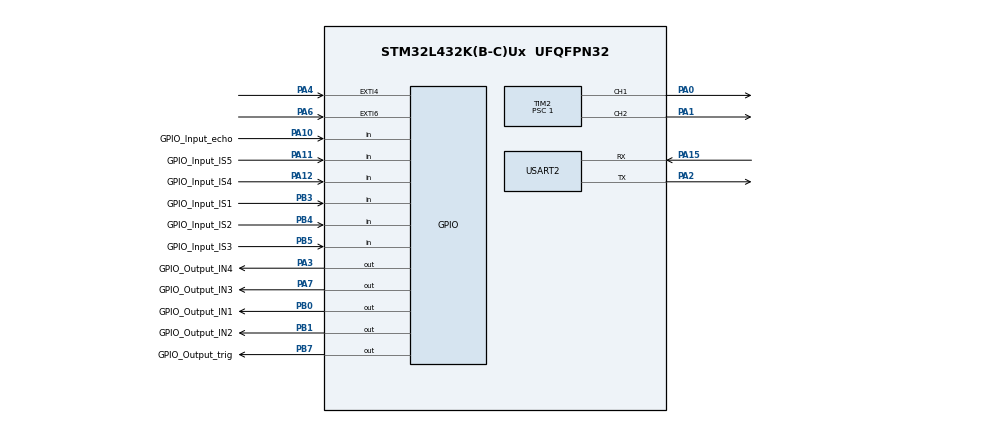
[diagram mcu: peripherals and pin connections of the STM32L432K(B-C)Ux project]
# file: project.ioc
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Dma.Request0=USART2_RX
Dma.USART2_RX.0.Direction=DMA_PERIPH_TO_MEMORY
Dma.USART2_RX.0.Instance=DMA1_Channel6
Dma.USART2_RX.0.MemDataAlignment=DMA_MDATAALIGN_BYTE
Dma.USART2_RX.0.MemInc=DMA_MINC_ENABLE
Dma.USART2_RX.0.Mode=DMA_NORMAL
Dma.USART2_RX.0.PeriphDataAlignment=DMA_PDATAALIGN_BYTE
Dma.USART2_RX.0.PeriphInc=DMA_PINC_DISABLE
Dma.USART2_RX.0.Priority=DMA_PRIORITY_LOW
Mcu.Family=STM32L4
Mcu.Name=STM32L432K(B-C)Ux
Mcu.Package=UFQFPN32
NVIC.DMA1_Channel6_IRQn=true\:0\:0\:false\:false\:true\:false\:true\:true
NVIC.EXTI4_IRQn=true\:0\:0\:true\:false\:true\:true\:true\:true
NVIC.EXTI9_5_IRQn=true\:0\:0\:true\:false\:true\:true\:true\:true
NVIC.PriorityGroup=NVIC_PRIORITYGROUP_4
NVIC.TIM6_DAC_IRQn=true\:0\:0\:true\:false\:true\:true\:true\:true
NVIC.USART2_IRQn=true\:0\:0\:true\:false\:true\:true\:true\:true
PA0.Signal=S_TIM2_CH1
PA1.Signal=S_TIM2_CH2
PA10.GPIO_Label=GPIO_Input_echo
PA10.Signal=GPIO_Input
PA11.GPIO_Label=GPIO_Input_IS5
PA11.Signal=GPIO_Input
PA12.GPIO_Label=GPIO_Input_IS4
PA12.Signal=GPIO_Input
PA13\ (JTMS-SWDIO).Mode=Serial_Wire
PA13\ (JTMS-SWDIO).Signal=SYS_JTMS-SWDIO
PA14\ (JTCK-SWCLK).Mode=Serial_Wire
PA14\ (JTCK-SWCLK).Signal=SYS_JTCK-SWCLK
PA15\ (JTDI).Mode=Asynchronous
PA15\ (JTDI).Signal=USART2_RX
PA2.Mode=Asynchronous
PA2.Signal=USART2_TX
PA3.GPIO_Label=GPIO_Output_IN4
PA3.Signal=GPIO_Output
PA4.Signal=GPXTI4
PA6.Signal=GPXTI6
PA7.GPIO_Label=GPIO_Output_IN3
PA7.Signal=GPIO_Output
PB0.GPIO_Label=GPIO_Output_IN1
PB0.Signal=GPIO_Output
PB1.GPIO_Label=GPIO_Output_IN2
PB1.Signal=GPIO_Output
PB3\ (JTDO-TRACESWO).GPIO_Label=GPIO_Input_IS1
PB3\ (JTDO-TRACESWO).Signal=GPIO_Input
PB4\ (NJTRST).GPIO_Label=GPIO_Input_IS2
PB4\ (NJTRST).Signal=GPIO_Input
PB5.GPIO_Label=GPIO_Input_IS3
PB5.Signal=GPIO_Input
PB7.GPIO_Label=GPIO_Output_trig
PB7.Signal=GPIO_Output
PC14-OSC32_IN\ (PC14).Mode=LSE-External-Oscillator
PC14-OSC32_IN\ (PC14).Signal=RCC_OSC32_IN
PC15-OSC32_OUT\ (PC15).Mode=LSE-External-Oscillator
PC15-OSC32_OUT\ (PC15).Signal=RCC_OSC32_OUT
ProjectManager.HeapSize=0x200
ProjectManager.StackSize=0x400
ProjectManager.TargetToolchain=STM32CubeIDE
RCC.HSE_VALUE=8000000
RCC.HSI48_VALUE=48000000
RCC.HSI_VALUE=16000000
RCC.MSI_VALUE=4000000
RCC.VCOOutputFreq_Value=32000000
SH.S_TIM2_CH1.0=TIM2_CH1,PWM Generation1 CH1
SH.S_TIM2_CH2.0=TIM2_CH2,PWM Generation2 CH2
TIM2.Channel-PWM\ Generation1\ CH1=TIM_CHANNEL_1
TIM2.Channel-PWM\ Generation2\ CH2=TIM_CHANNEL_2
TIM2.Period=100
TIM2.Prescaler=1
TIM6.Period=999
TIM6.Prescaler=3
TIM7.Prescaler=3
USART2.VirtualMode-Asynchronous=VM_ASYNC
VP_TIM6_VS_ClockSourceINT.Mode=Enable_Timer
VP_TIM7_VS_ClockSourceINT.Mode=Enable_Timer
board=custom

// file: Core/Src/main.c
/* USER CODE BEGIN Header */
/**
  ******************************************************************************
  * @file           : main.c
  * @brief          : Main program body
  ******************************************************************************
  * @attention
  *
  * Copyright (c) 2024 STMicroelectronics.
  * All rights reserved.
  *
  * This software is licensed under terms that can be found in the LICENSE file
  * in the root directory of this software component.
  * If no LICENSE file comes with this software, it is provided AS-IS.
  *
  ******************************************************************************
  */
/* USER CODE END Header */
#include "main.h"

TIM_HandleTypeDef htim2;
TIM_HandleTypeDef htim6;
TIM_HandleTypeDef htim7;

UART_HandleTypeDef huart2;
DMA_HandleTypeDef hdma_usart2_rx;

void SystemClock_Config(void);
static void MX_GPIO_Init(void);
static void MX_DMA_Init(void);
static void MX_TIM6_Init(void);
static void MX_TIM2_Init(void);
static void MX_USART2_UART_Init(void);
static void MX_TIM7_Init(void);

/* USER CODE BEGIN 0 */
#include <string.h>
#include <stdbool.h>
#include <math.h>

int cntMilSecond; // control runing time

// To read ultrasonic sensor
#define TRIG_PIN GPIO_Output_trig_Pin
#define TRIG_PORT GPIOB
#define ECHO_PIN GPIO_Input_echo_Pin
#define ECHO_PORT GPIOA
uint32_t uMillis;
uint32_t val1 = 0;
uint32_t val2 = 0;
uint16_t disObs = 0;
uint16_t safeDis = 10;

// Transmit - Receive data with Jeson Nano
#define SIZE_TX_BUFFER 12
uint8_t uartTxBuffer[SIZE_TX_BUFFER];
uint8_t convertedSpeed1[2];
uint8_t convertedSpeed2[2];
uint8_t convertedDisObs[2];
#define SIZE_RX_BUFFER 8
uint8_t uartRxBuffer[SIZE_RX_BUFFER];

// To control motor velocity
int16_t sig1, sig2; // signal control two motors
int setSpeed1, setSpeed2;
char runMotor1, runMotor2, directMotor1[3], directMotor2[3];

// To design PI controller
float Kp, Ki, Kb;
const float Ts = 0.01;
const int16_t maxPWM = 100;
const int16_t minPWM = 0;

// To read encoder
int cntPulse1, cntPulse2;
float rpm1, rpm2, encodeSpeed1, encodeSpeed2; // round per minute and radian per second

bool compareString(const char* str1, const char* str2) {
    while (*str1 != '\0' || *str2 != '\0') {
        if (*str1 != *str2) {
            return false;
        }
        str1++;
        str2++;
    }
    return true;
}

void numberToChar(float num, uint8_t result[2]) // num to two chars
{
    int firstChar = (int)num / 10;
    int secondChar = (int)num % 10;
    result[0] = firstChar + '0';
    result[1] = secondChar + '0';
}

int16_t PI_Controller(const char* motor, const char* direction, float targetSpeed, float encoderSpeed)
{
	if (compareString(motor, "motor1"))
	{
	    if (compareString(direction, "cw"))
	    {
	        Kp = 5.364516129;
	        Ki = 32.25806452;
	        Kb = 6.013229104;
	    }
	    else if (compareString(direction, "ccw"))
	    {
	        Kp = 4.75;
	        Ki = 31.25;
	        Kb = 6.578947368;
	    }
	}
	else if (compareString(motor, "motor2"))
	{
	    if (compareString(direction, "ccw"))
	    {
	        Kp = 4.240625;
	        Ki = 31.25;
	        Kb = 7.369196758;
	    }
	    else if (compareString(direction, "cw"))
	    {
	        Kp = 4.153333333;
	        Ki = 33.33333333;
	        Kb = 8.025682183;
	    }
	}

	int16_t u_out;
	float error, u_p, u_i, u_design;
	static float errorSignal, u_i_pre;

	error = targetSpeed - encoderSpeed;

	// For P
	u_p = Kp*error;

	// For I
	u_i = u_i_pre + Ki*Ts*error + Kb*Ts*errorSignal;
	u_i_pre = u_i;

	// PI Controller
	u_design = u_p + u_i;

	// Check error of signal
	if (u_design > maxPWM) {
		u_out = maxPWM;
		errorSignal = u_out - u_design;
	}
	else if (u_design < minPWM)
	{
		u_out = minPWM;
		errorSignal = u_out - u_design;
	}
	else
	{
		u_out = (int16_t)u_design;
		errorSignal = 0;
	}

	return u_out;
}

void readInfraredSensor()
{
    uartTxBuffer[0] = (HAL_GPIO_ReadPin(GPIOB, GPIO_Input_IS1_Pin) == GPIO_PIN_SET) ? '1' : '0';
    uartTxBuffer[1] = (HAL_GPIO_ReadPin(GPIOB, GPIO_Input_IS2_Pin) == GPIO_PIN_SET) ? '1' : '0';
    uartTxBuffer[2] = (HAL_GPIO_ReadPin(GPIOB, GPIO_Input_IS3_Pin) == GPIO_PIN_SET) ? '1' : '0';
    uartTxBuffer[3] = (HAL_GPIO_ReadPin(GPIOA, GPIO_Input_IS4_Pin) == GPIO_PIN_SET) ? '1' : '0';
    uartTxBuffer[4] = (HAL_GPIO_ReadPin(GPIOA, GPIO_Input_IS5_Pin) == GPIO_PIN_SET) ? '1' : '0';
}

void readUltrasonicSensor()
{
	HAL_GPIO_WritePin(TRIG_PORT, TRIG_PIN, GPIO_PIN_SET);
	__HAL_TIM_SET_COUNTER(&htim7, 0);
	while (__HAL_TIM_GET_COUNTER (&htim7) < 10);  // wait for 10 us
	HAL_GPIO_WritePin(TRIG_PORT, TRIG_PIN, GPIO_PIN_RESET);

	uMillis = HAL_GetTick(); // calib sensor
	while (!(HAL_GPIO_ReadPin (ECHO_PORT, ECHO_PIN)) && uMillis + 10 >  HAL_GetTick());
	val1 = __HAL_TIM_GET_COUNTER (&htim7);

	uMillis = HAL_GetTick(); // calib sensor
	while ((HAL_GPIO_ReadPin (ECHO_PORT, ECHO_PIN)) && uMillis + 50 > HAL_GetTick());
	val2 = __HAL_TIM_GET_COUNTER (&htim7);

	disObs = (val2-val1)* 0.034/2; //cm
}

void transmitData()
{
	char sendData[SIZE_TX_BUFFER];
	memcpy(sendData, uartTxBuffer, SIZE_TX_BUFFER);
	sendData[SIZE_TX_BUFFER - 1] = '.';
	HAL_UART_Transmit(&huart2, (uint8_t*)sendData, SIZE_TX_BUFFER, HAL_MAX_DELAY);
}

void processDataReceived()
{
	runMotor1 = uartRxBuffer[0];
	strcpy(directMotor1, (uartRxBuffer[1] == '0')  ? "cw" : "ccw");
	setSpeed1 = (uartRxBuffer[2] - '0')*10 + (uartRxBuffer[3] - '0');
	runMotor2 = uartRxBuffer[4];
	strcpy(directMotor2, (uartRxBuffer[5] == '0') ? "cw" : "ccw");
	setSpeed2 = (uartRxBuffer[6] - '0')*10 + (uartRxBuffer[7] - '0');
}

void HAL_UART_RxCpltCallback(UART_HandleTypeDef *huart)
{
	if(huart->Instance == huart2.Instance)
	{
		HAL_UART_Receive_DMA(&huart2, uartRxBuffer, SIZE_RX_BUFFER);
		processDataReceived();

		if (runMotor1 == '0')
		{
			HAL_GPIO_WritePin(GPIOB, GPIO_Output_IN1_Pin, 0);
			HAL_GPIO_WritePin(GPIOB, GPIO_Output_IN2_Pin, 0);
		}

		if (runMotor2 == '0')
		{
			HAL_GPIO_WritePin(GPIOA, GPIO_Output_IN3_Pin, 0);
			HAL_GPIO_WritePin(GPIOA, GPIO_Output_IN4_Pin, 0);
		}
	}
}

void HAL_GPIO_EXTI_Callback(uint16_t GPIO_Pin)
{
    if (GPIO_Pin == GPIO_PIN_6)
    {
    	cntPulse1++;
    }

    if (GPIO_Pin == GPIO_PIN_4)
    {
    	cntPulse2++;
    }
}

int16_t controlVelocityM1(const char* direction, float targetSpeed, float encoderSpeed)
{
	int16_t controlPulse = PI_Controller("motor1", direction, targetSpeed, encoderSpeed);

	if (compareString(direction, "cw"))
	{
		HAL_GPIO_WritePin(GPIOB, GPIO_Output_IN1_Pin, 1);
		HAL_GPIO_WritePin(GPIOB, GPIO_Output_IN2_Pin, 0);
	}

	else if (compareString(direction, "ccw"))
	{
		HAL_GPIO_WritePin(GPIOB, GPIO_Output_IN1_Pin, 0);
		HAL_GPIO_WritePin(GPIOB, GPIO_Output_IN2_Pin, 1);
	}

	__HAL_TIM_SetCompare(&htim2, TIM_CHANNEL_1, controlPulse);

	return controlPulse;
}

int16_t controlVelocityM2(const char* direction, float targetSpeed, float encoderSpeed)
{
	int16_t controlPulse = PI_Controller("motor2", direction, targetSpeed, encoderSpeed);

	if (compareString(direction, "cw"))
	{
		HAL_GPIO_WritePin(GPIOA, GPIO_Output_IN3_Pin, 1);
		HAL_GPIO_WritePin(GPIOA, GPIO_Output_IN4_Pin, 0);
	}

	else if (compareString(direction, "ccw"))
	{
		HAL_GPIO_WritePin(GPIOA, GPIO_Output_IN3_Pin, 0);
		HAL_GPIO_WritePin(GPIOA, GPIO_Output_IN4_Pin, 1);
	}

	__HAL_TIM_SetCompare(&htim2, TIM_CHANNEL_2, controlPulse);

	return controlPulse;
}

void HAL_TIM_PeriodElapsedCallback(TIM_HandleTypeDef *htim)
{
	if (htim -> Instance == htim6.Instance) // 1 millisecond
	{
		cntMilSecond++;

		if (cntMilSecond == 50) // 50 milliseconds
		{
			readInfraredSensor();

			numberToChar(disObs > 99 ? 99 : disObs, convertedDisObs);
			uartTxBuffer[5] = convertedDisObs[0];
			uartTxBuffer[6] = convertedDisObs[1];

			// Record motor speed to transmit
			numberToChar(encodeSpeed1, convertedSpeed1);
			uartTxBuffer[7] = convertedSpeed1[0];
			uartTxBuffer[8] = convertedSpeed1[1];

			numberToChar(encodeSpeed2, convertedSpeed2);
			uartTxBuffer[9] = convertedSpeed2[0];
			uartTxBuffer[10] = convertedSpeed2[1];

			transmitData();

			cntMilSecond = 0;
		}

		if (cntMilSecond % 10 == 0) // 10 milliseconds
		{
			rpm1 = ((float)cntPulse1/330)*100*60;
			encodeSpeed1 = rpm1 / 60 * (2*M_PI);
			cntPulse1 = 0;

			if (runMotor1 == '1')
			{
				sig1 = controlVelocityM1(directMotor1, setSpeed1, encodeSpeed1);
			}
			else if (runMotor1 == '0')
			{
				HAL_GPIO_WritePin(GPIOB, GPIO_Output_IN1_Pin, 0);
				HAL_GPIO_WritePin(GPIOB, GPIO_Output_IN2_Pin, 0);
			}

			rpm2 = ((float)cntPulse2/330)*100*60;
			encodeSpeed2 = rpm2 / 60 * (2*M_PI);
			cntPulse2 = 0;

			if (runMotor2 == '1')
			{
				sig2 = controlVelocityM2(directMotor2, setSpeed2, encodeSpeed2);
			}
			else if (runMotor2 == '0')
			{
				HAL_GPIO_WritePin(GPIOA, GPIO_Output_IN3_Pin, 0);
				HAL_GPIO_WritePin(GPIOA, GPIO_Output_IN4_Pin, 0);
			}
		}
	}
}

void runM1(bool run, const char* direction, int16_t speedPercent) /* No PI controller */
{
    if (run)
    {
    	if (compareString(direction, "cw"))
        {
            HAL_GPIO_WritePin(GPIOB, GPIO_Output_IN1_Pin, 1);
            HAL_GPIO_WritePin(GPIOB, GPIO_Output_IN2_Pin, 0);
        }

    	else if (compareString(direction, "ccw"))
        {
            HAL_GPIO_WritePin(GPIOB, GPIO_Output_IN1_Pin, 0);
            HAL_GPIO_WritePin(GPIOB, GPIO_Output_IN2_Pin, 1);
        }

        __HAL_TIM_SetCompare(&htim2, TIM_CHANNEL_1, speedPercent);
    }

    else
    {
        HAL_GPIO_WritePin(GPIOB, GPIO_Output_IN1_Pin, 0);
        HAL_GPIO_WritePin(GPIOB, GPIO_Output_IN2_Pin, 0);
    }
}

void runM2(bool run, const char* direction, int16_t speedPercent) /* No PI controller */
{
    if (run)
    {
    	if (compareString(direction, "cw"))
        {
            HAL_GPIO_WritePin(GPIOA, GPIO_Output_IN3_Pin, 1);
            HAL_GPIO_WritePin(GPIOA, GPIO_Output_IN4_Pin, 0);
        }

    	else if (compareString(direction, "ccw"))
        {
            HAL_GPIO_WritePin(GPIOA, GPIO_Output_IN3_Pin, 0);
            HAL_GPIO_WritePin(GPIOA, GPIO_Output_IN4_Pin, 1);
        }

        __HAL_TIM_SetCompare(&htim2, TIM_CHANNEL_2, speedPercent);
    }

    else
    {
        HAL_GPIO_WritePin(GPIOA, GPIO_Output_IN3_Pin, 0);
        HAL_GPIO_WritePin(GPIOA, GPIO_Output_IN4_Pin, 0);
    }
}

/* USER CODE END 0 */

int main(void)
{

  /* MCU Configuration--------------------------------------------------------*/

  /* Reset of all peripherals, Initializes the Flash interface and the Systick. */
  HAL_Init();

  /* Configure the system clock */
  SystemClock_Config();

  /* Initialize all configured peripherals */
  MX_GPIO_Init();
  MX_DMA_Init();
  MX_TIM6_Init();
  MX_TIM2_Init();
  MX_USART2_UART_Init();
  MX_TIM7_Init();
  /* USER CODE BEGIN 2 */
  HAL_TIM_Base_Start_IT(&htim6);
  HAL_TIM_PWM_Start(&htim2,TIM_CHANNEL_1);
  HAL_TIM_PWM_Start(&htim2,TIM_CHANNEL_2);
  HAL_UART_Receive_DMA(&huart2, uartRxBuffer, SIZE_RX_BUFFER);
  HAL_TIM_Base_Start_IT(&htim7);

  /* USER CODE END 2 */

  /* Infinite loop */
  while (1)
  {

    /* USER CODE BEGIN 3 */
	readUltrasonicSensor();
  }
  /* USER CODE END 3 */
}

void SystemClock_Config(void)
{
  RCC_OscInitTypeDef RCC_OscInitStruct = {0};
  RCC_ClkInitTypeDef RCC_ClkInitStruct = {0};

  /** Configure the main internal regulator output voltage
  */
  if (HAL_PWREx_ControlVoltageScaling(PWR_REGULATOR_VOLTAGE_SCALE1) != HAL_OK)
  {
    Error_Handler();
  }

  /** Configure LSE Drive Capability
  */
  HAL_PWR_EnableBkUpAccess();
  __HAL_RCC_LSEDRIVE_CONFIG(RCC_LSEDRIVE_LOW);

  /** Initializes the RCC Oscillators according to the specified parameters
  * in the RCC_OscInitTypeDef structure.
  */
  RCC_OscInitStruct.OscillatorType = RCC_OSCILLATORTYPE_LSE|RCC_OSCILLATORTYPE_MSI;
  RCC_OscInitStruct.LSEState = RCC_LSE_ON;
  RCC_OscInitStruct.MSIState = RCC_MSI_ON;
  RCC_OscInitStruct.MSICalibrationValue = 0;
  RCC_OscInitStruct.MSIClockRange = RCC_MSIRANGE_6;
  RCC_OscInitStruct.PLL.PLLState = RCC_PLL_NONE;
  if (HAL_RCC_OscConfig(&RCC_OscInitStruct) != HAL_OK)
  {
    Error_Handler();
  }

  /** Initializes the CPU, AHB and APB buses clocks
  */
  RCC_ClkInitStruct.ClockType = RCC_CLOCKTYPE_HCLK|RCC_CLOCKTYPE_SYSCLK
                              |RCC_CLOCKTYPE_PCLK1|RCC_CLOCKTYPE_PCLK2;
  RCC_ClkInitStruct.SYSCLKSource = RCC_SYSCLKSOURCE_MSI;
  RCC_ClkInitStruct.AHBCLKDivider = RCC_SYSCLK_DIV1;
  RCC_ClkInitStruct.APB1CLKDivider = RCC_HCLK_DIV1;
  RCC_ClkInitStruct.APB2CLKDivider = RCC_HCLK_DIV1;

  if (HAL_RCC_ClockConfig(&RCC_ClkInitStruct, FLASH_LATENCY_0) != HAL_OK)
  {
    Error_Handler();
  }

  /** Enable MSI Auto calibration
  */
  HAL_RCCEx_EnableMSIPLLMode();
}

static void MX_TIM2_Init(void)
{

  TIM_MasterConfigTypeDef sMasterConfig = {0};
  TIM_OC_InitTypeDef sConfigOC = {0};

  htim2.Instance = TIM2;
  htim2.Init.Prescaler = 1;
  htim2.Init.CounterMode = TIM_COUNTERMODE_UP;
  htim2.Init.Period = 100;
  htim2.Init.ClockDivision = TIM_CLOCKDIVISION_DIV1;
  htim2.Init.AutoReloadPreload = TIM_AUTORELOAD_PRELOAD_DISABLE;
  if (HAL_TIM_PWM_Init(&htim2) != HAL_OK)
  {
    Error_Handler();
  }
  sMasterConfig.MasterOutputTrigger = TIM_TRGO_RESET;
  sMasterConfig.MasterSlaveMode = TIM_MASTERSLAVEMODE_DISABLE;
  if (HAL_TIMEx_MasterConfigSynchronization(&htim2, &sMasterConfig) != HAL_OK)
  {
    Error_Handler();
  }
  sConfigOC.OCMode = TIM_OCMODE_PWM1;
  sConfigOC.Pulse = 0;
  sConfigOC.OCPolarity = TIM_OCPOLARITY_HIGH;
  sConfigOC.OCFastMode = TIM_OCFAST_DISABLE;
  if (HAL_TIM_PWM_ConfigChannel(&htim2, &sConfigOC, TIM_CHANNEL_1) != HAL_OK)
  {
    Error_Handler();
  }
  if (HAL_TIM_PWM_ConfigChannel(&htim2, &sConfigOC, TIM_CHANNEL_2) != HAL_OK)
  {
    Error_Handler();
  }
  HAL_TIM_MspPostInit(&htim2);

}

static void MX_TIM6_Init(void)
{

  TIM_MasterConfigTypeDef sMasterConfig = {0};

  htim6.Instance = TIM6;
  htim6.Init.Prescaler = 3;
  htim6.Init.CounterMode = TIM_COUNTERMODE_UP;
  htim6.Init.Period = 999;
  htim6.Init.AutoReloadPreload = TIM_AUTORELOAD_PRELOAD_DISABLE;
  if (HAL_TIM_Base_Init(&htim6) != HAL_OK)
  {
    Error_Handler();
  }
  sMasterConfig.MasterOutputTrigger = TIM_TRGO_RESET;
  sMasterConfig.MasterSlaveMode = TIM_MASTERSLAVEMODE_DISABLE;
  if (HAL_TIMEx_MasterConfigSynchronization(&htim6, &sMasterConfig) != HAL_OK)
  {
    Error_Handler();
  }

}

static void MX_TIM7_Init(void)
{

  TIM_MasterConfigTypeDef sMasterConfig = {0};

  htim7.Instance = TIM7;
  htim7.Init.Prescaler = 3;
  htim7.Init.CounterMode = TIM_COUNTERMODE_UP;
  htim7.Init.Period = 65535;
  htim7.Init.AutoReloadPreload = TIM_AUTORELOAD_PRELOAD_DISABLE;
  if (HAL_TIM_Base_Init(&htim7) != HAL_OK)
  {
    Error_Handler();
  }
  sMasterConfig.MasterOutputTrigger = TIM_TRGO_RESET;
  sMasterConfig.MasterSlaveMode = TIM_MASTERSLAVEMODE_DISABLE;
  if (HAL_TIMEx_MasterConfigSynchronization(&htim7, &sMasterConfig) != HAL_OK)
  {
    Error_Handler();
  }

}

static void MX_USART2_UART_Init(void)
{

  huart2.Instance = USART2;
  huart2.Init.BaudRate = 115200;
  huart2.Init.WordLength = UART_WORDLENGTH_8B;
  huart2.Init.StopBits = UART_STOPBITS_1;
  huart2.Init.Parity = UART_PARITY_NONE;
  huart2.Init.Mode = UART_MODE_TX_RX;
  huart2.Init.HwFlowCtl = UART_HWCONTROL_NONE;
  huart2.Init.OverSampling = UART_OVERSAMPLING_16;
  huart2.Init.OneBitSampling = UART_ONE_BIT_SAMPLE_DISABLE;
  huart2.AdvancedInit.AdvFeatureInit = UART_ADVFEATURE_NO_INIT;
  if (HAL_UART_Init(&huart2) != HAL_OK)
  {
    Error_Handler();
  }

}

static void MX_DMA_Init(void)
{

  /* DMA controller clock enable */
  __HAL_RCC_DMA1_CLK_ENABLE();

  /* DMA interrupt init */
  /* DMA1_Channel6_IRQn interrupt configuration */
  HAL_NVIC_SetPriority(DMA1_Channel6_IRQn, 0, 0);
  HAL_NVIC_EnableIRQ(DMA1_Channel6_IRQn);

}

static void MX_GPIO_Init(void)
{
  GPIO_InitTypeDef GPIO_InitStruct = {0};

  /* GPIO Ports Clock Enable */
  __HAL_RCC_GPIOC_CLK_ENABLE();
  __HAL_RCC_GPIOA_CLK_ENABLE();
  __HAL_RCC_GPIOB_CLK_ENABLE();

  /*Configure GPIO pin Output Level */
  HAL_GPIO_WritePin(GPIOA, GPIO_Output_IN4_Pin|GPIO_Output_IN3_Pin, GPIO_PIN_RESET);

  /*Configure GPIO pin Output Level */
  HAL_GPIO_WritePin(GPIOB, GPIO_Output_IN1_Pin|GPIO_Output_IN2_Pin|GPIO_Output_trig_Pin, GPIO_PIN_RESET);

  /*Configure GPIO pins : GPIO_Output_IN4_Pin GPIO_Output_IN3_Pin */
  GPIO_InitStruct.Pin = GPIO_Output_IN4_Pin|GPIO_Output_IN3_Pin;
  GPIO_InitStruct.Mode = GPIO_MODE_OUTPUT_PP;
  GPIO_InitStruct.Pull = GPIO_NOPULL;
  GPIO_InitStruct.Speed = GPIO_SPEED_FREQ_LOW;
  HAL_GPIO_Init(GPIOA, &GPIO_InitStruct);

  /*Configure GPIO pins : PA4 PA6 */
  GPIO_InitStruct.Pin = GPIO_PIN_4|GPIO_PIN_6;
  GPIO_InitStruct.Mode = GPIO_MODE_IT_RISING;
  GPIO_InitStruct.Pull = GPIO_NOPULL;
  HAL_GPIO_Init(GPIOA, &GPIO_InitStruct);

  /*Configure GPIO pins : GPIO_Output_IN1_Pin GPIO_Output_IN2_Pin GPIO_Output_trig_Pin */
  GPIO_InitStruct.Pin = GPIO_Output_IN1_Pin|GPIO_Output_IN2_Pin|GPIO_Output_trig_Pin;
  GPIO_InitStruct.Mode = GPIO_MODE_OUTPUT_PP;
  GPIO_InitStruct.Pull = GPIO_NOPULL;
  GPIO_InitStruct.Speed = GPIO_SPEED_FREQ_LOW;
  HAL_GPIO_Init(GPIOB, &GPIO_InitStruct);

  /*Configure GPIO pins : GPIO_Input_echo_Pin GPIO_Input_IS5_Pin GPIO_Input_IS4_Pin */
  GPIO_InitStruct.Pin = GPIO_Input_echo_Pin|GPIO_Input_IS5_Pin|GPIO_Input_IS4_Pin;
  GPIO_InitStruct.Mode = GPIO_MODE_INPUT;
  GPIO_InitStruct.Pull = GPIO_NOPULL;
  HAL_GPIO_Init(GPIOA, &GPIO_InitStruct);

  /*Configure GPIO pins : GPIO_Input_IS1_Pin GPIO_Input_IS2_Pin GPIO_Input_IS3_Pin */
  GPIO_InitStruct.Pin = GPIO_Input_IS1_Pin|GPIO_Input_IS2_Pin|GPIO_Input_IS3_Pin;
  GPIO_InitStruct.Mode = GPIO_MODE_INPUT;
  GPIO_InitStruct.Pull = GPIO_NOPULL;
  HAL_GPIO_Init(GPIOB, &GPIO_InitStruct);

  /* EXTI interrupt init*/
  HAL_NVIC_SetPriority(EXTI4_IRQn, 0, 0);
  HAL_NVIC_EnableIRQ(EXTI4_IRQn);

  HAL_NVIC_SetPriority(EXTI9_5_IRQn, 0, 0);
  HAL_NVIC_EnableIRQ(EXTI9_5_IRQn);

}

void Error_Handler(void)
{
  __disable_irq();
  while (1)
  {
  }
}
